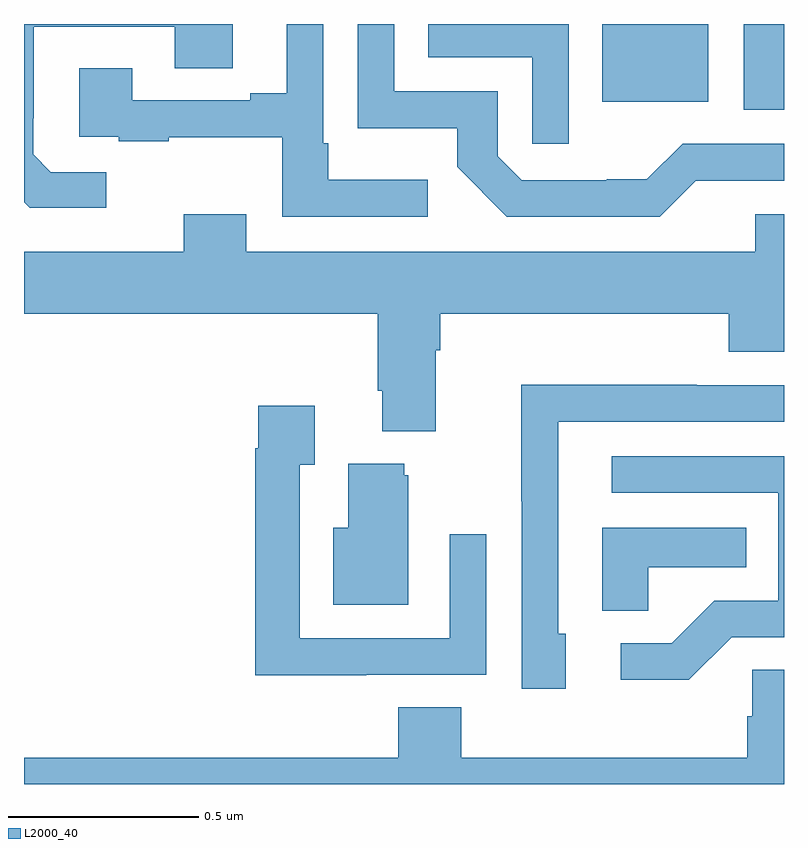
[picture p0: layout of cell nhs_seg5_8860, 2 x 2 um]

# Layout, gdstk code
import gdstk
lib = gdstk.Library(unit=1e-6, precision=1e-09)
def R(c, l, rs):  # rectangles x0, y0, x1, y1
    for r in rs: c.add(gdstk.rectangle(r[:2], r[2:], *l))
def P(c, l, *ps):  # polygons
    for p in ps: c.add(gdstk.Polygon(p, *l))
L2000_40 = (2000, 40)

nhs_seg5_8860 = lib.new_cell('nhs_seg5_8860')
R(nhs_seg5_8860, L2000_40, [(227.894,914.573,228,914.799), (227.522,914.594,227.8,914.799)])
P(nhs_seg5_8860, L2000_40, [(227.433,914.799),(227.064,914.799),(227.064,914.712),(227.337,914.712),(227.337,914.484),(227.433,914.484)],
  [(226.216,914.409),(226.071,914.409),(226.024,914.456),(226.024,914.551),(226.026,914.551),(226.026,914.792),(226.397,914.792),(226.397,914.683),(226.549,914.683),(226.549,914.799),(226,914.799),(226,914.33),(226.015,914.315),(226.216,914.315)],
  [(227.768,914.387),(228,914.387),(228,914.484),(227.733,914.484),(227.639,914.39),(227.534,914.39),(227.534,914.388),(227.31,914.388),(227.247,914.451),(227.247,914.622),(226.974,914.622),(226.974,914.799),(226.878,914.799),(226.878,914.525),(227.14,914.525),(227.14,914.423),(227.27,914.292),(227.673,914.292)],
  [(227.062,914.389),(226.801,914.389),(226.801,914.485),(226.788,914.485),(226.788,914.799),(226.691,914.799),(226.691,914.617),(226.595,914.617),(226.595,914.598),(226.285,914.598),(226.285,914.683),(226.145,914.683),(226.145,914.502),(226.249,914.502),(226.249,914.49),(226.381,914.49),(226.381,914.501),(226.68,914.501),(226.68,914.292),(227.062,914.292)],
  [(227.083,913.94),(227.096,913.94),(227.096,914.036),(227.855,914.036),(227.855,913.937),(228,913.937),(228,914.298),(227.924,914.298),(227.924,914.2),(226.585,914.2),(226.585,914.299),(226.421,914.299),(226.421,914.2),(226,914.2),(226,914.036),(226.931,914.036),(226.931,913.834),(226.943,913.834),(226.943,913.727),(227.083,913.727)],
  [(227.425,913.194),(227.406,913.194),(227.406,913.752),(228,913.752),(228,913.848),(227.771,913.848),(227.771,913.85),(227.308,913.85),(227.308,913.543),(227.31,913.543),(227.31,913.05),(227.425,913.05)],
  [(226.901,913.086),(227.217,913.086),(227.217,913.456),(227.121,913.456),(227.121,913.182),(226.725,913.182),(226.725,913.639),(226.765,913.639),(226.765,913.795),(226.617,913.795),(226.617,913.682),(226.609,913.682),(226.609,913.085),(226.901,913.085)],
  [(227.862,913.185),(228,913.185),(228,913.662),(227.547,913.662),(227.547,913.566),(227.985,913.566),(227.985,913.281),(227.816,913.281),(227.705,913.17),(227.571,913.17),(227.571,913.073),(227.749,913.073)],
  [(227.011,913.611),(227,913.611),(227,913.642),(226.853,913.642),(226.853,913.474),(226.814,913.474),(226.814,913.271),(227.011,913.271)],
  [(227.643,913.37),(227.9,913.37),(227.9,913.474),(227.522,913.474),(227.522,913.255),(227.643,913.255)],
  [(228,913.1),(227.916,913.1),(227.916,912.977),(227.903,912.977),(227.903,912.868),(227.15,912.868),(227.15,913.001),(226.985,913.001),(226.985,912.868),(226,912.868),(226,912.799),(228,912.799)])

lib.write_gds('nhs_seg5_8860.gds')
